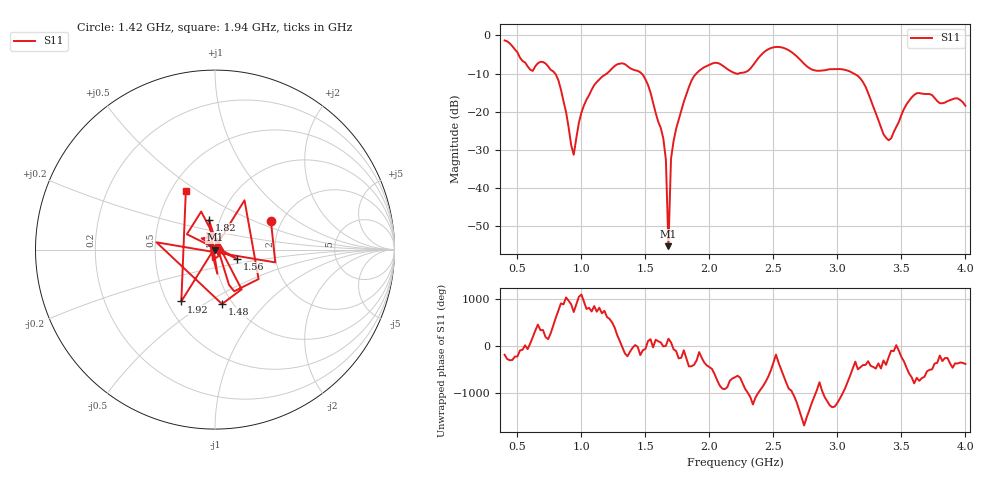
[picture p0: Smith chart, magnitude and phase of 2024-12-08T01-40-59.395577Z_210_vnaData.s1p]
!Created with skrf (http://scikit-rf.org).
# Hz S RI R 50.0
!freq ReS11 ImS11
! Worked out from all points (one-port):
!   181 points, 400 MHz to 4 GHz, reference 50 ohm
!   lowest |S11| = -55.2 dB at 1.68 GHz (marker M1), VSWR 1.00, Z = 49.8 + j0.0512 ohm
!   |S11| at or under -10 dB: 794.5 MHz to 1.198 GHz (403.4 MHz wide, 40.5 % of centre); 1.471 GHz to 1.897 GHz (426.5 MHz wide, 25.3 % of centre); 3.129 GHz to end of sweep (the widest 3 of 4)
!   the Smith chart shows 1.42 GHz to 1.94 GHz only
!   S11 on the Smith chart (normalised r, x): 1.42 GHz: 1.76, +0.64; 1.48 GHz: 0.89, -0.60; 1.56 GHz: 1.27, -0.13; 1.82 GHz: 0.89, +0.30; 1.92 GHz: 0.59, -0.39; 1.94 GHz: 0.59, +0.45
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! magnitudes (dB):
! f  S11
! 400 MHz  -1.3
! 600 MHz  -9.0
! 780 MHz  -9.4
! 860 MHz  -17.2
! 940 MHz  -31.3
! 980 MHz  -22.9
! 1.04 GHz  -16.8
! 1.3 GHz  -7.4
! 1.42 GHz  -9.1
! 1.48 GHz  -10.3
! 1.56 GHz  -17.6
! 1.64 GHz  -27.0
! 1.66 GHz  -32.6
! 1.68 GHz  -55.2
! 1.7 GHz  -32.3
! 1.76 GHz  -22.1
! 1.82 GHz  -15.5
! 1.92 GHz  -9.3
! 1.94 GHz  -8.8
! 2.2 GHz  -9.9
! 2.48 GHz  -3.3
! 2.66 GHz  -4.8
! 2.82 GHz  -9.1
! 3.1 GHz  -9.5
! 3.2 GHz  -12.2
! 3.4 GHz  -27.5
! 3.56 GHz  -17.1
! 4 GHz  -18.4
